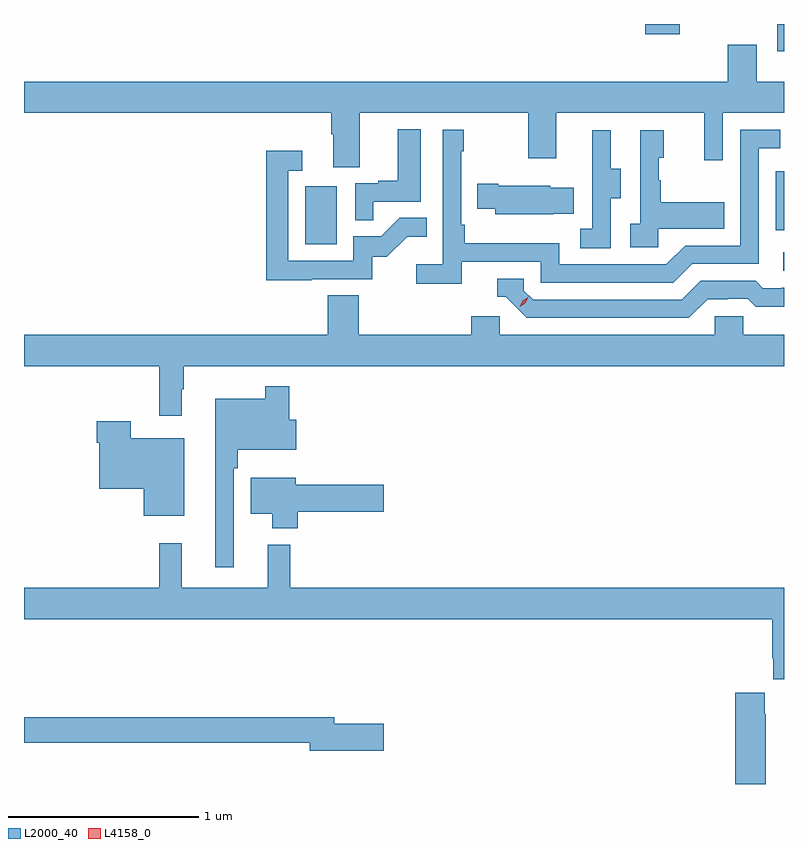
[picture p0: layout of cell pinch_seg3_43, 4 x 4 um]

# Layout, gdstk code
import gdstk
lib = gdstk.Library(unit=1e-6, precision=1e-09)
def R(c, l, rs):  # rectangles x0, y0, x1, y1
    for r in rs: c.add(gdstk.rectangle(r[:2], r[2:], *l))
def P(c, l, *ps):  # polygons
    for p in ps: c.add(gdstk.Polygon(p, *l))
L2000_40 = (2000, 40)
L4158_0 = (4158, 0)

pinch_seg3_43 = lib.new_cell('pinch_seg3_43')
R(pinch_seg3_43, L2000_40, [(1108.227,738.714,1108.231,738.81), (1105.712,738.852,1105.876,739.159), (1108.188,738.927,1108.231,739.236), (1108.196,739.868,1108.231,740.012), (1107.5,739.959,1107.683,740.012)])
P(pinch_seg3_43, L2000_40, [(1105.999,739.544),(1106.884,739.544),(1106.884,739.305),(1107.031,739.305),(1107.031,739.544),(1107.812,739.544),(1107.812,739.296),(1107.909,739.296),(1107.909,739.544),(1108.231,739.544),(1108.231,739.708),(1108.087,739.708),(1108.087,739.903),(1107.935,739.903),(1107.935,739.708),(1104.231,739.708),(1104.231,739.544),(1105.847,739.544),(1105.847,739.432),(1105.859,739.432),(1105.859,739.258),(1105.999,739.258)],
  [(1106.069,739.077),(1106.32,739.077),(1106.32,739.459),(1106.198,739.459),(1106.198,739.186),(1106.095,739.186),(1106.095,739.173),(1105.974,739.173),(1105.974,738.979),(1106.069,738.979)],
  [(1106.534,738.762),(1106.952,738.762),(1106.952,738.651),(1107.649,738.651),(1107.748,738.75),(1108.098,738.75),(1108.098,739.359),(1108.211,739.359),(1108.211,739.455),(1108.002,739.455),(1108.002,738.846),(1107.711,738.846),(1107.612,738.747),(1107.048,738.747),(1107.048,738.859),(1106.552,738.859),(1106.552,738.955),(1106.532,738.955),(1106.532,739.343),(1106.545,739.343),(1106.545,739.456),(1106.436,739.456),(1106.436,738.748),(1106.295,738.748),(1106.295,738.646),(1106.534,738.646)],
  [(1107.318,739.096),(1107.373,739.096),(1107.373,739.251),(1107.319,739.251),(1107.319,739.453),(1107.221,739.453),(1107.221,739.239),(1107.222,739.239),(1107.222,738.935),(1107.159,738.935),(1107.159,738.832),(1107.318,738.832)],
  [(1107.57,738.935),(1107.917,738.935),(1107.917,739.075),(1107.583,739.075),(1107.583,739.19),(1107.573,739.19),(1107.573,739.308),(1107.598,739.308),(1107.598,739.453),(1107.474,739.453),(1107.474,738.962),(1107.423,738.962),(1107.423,738.837),(1107.57,738.837)],
  [(1105.745,738.669),(1106.064,738.669),(1106.064,738.786),(1106.14,738.786),(1106.247,738.893),(1106.351,738.893),(1106.351,738.992),(1106.208,738.992),(1106.11,738.894),(1105.965,738.894),(1105.965,738.765),(1105.623,738.765),(1105.623,739.239),(1105.696,739.239),(1105.696,739.345),(1105.507,739.345),(1105.507,738.664),(1105.745,738.664)],
  [(1107.017,739.013),(1107.125,739.013),(1107.125,739.15),(1107,739.15),(1107,739.162),(1106.728,739.162),(1106.728,739.17),(1106.617,739.17),(1106.617,739.04),(1106.711,739.04),(1106.711,739.01),(1107.017,739.01)],
  [(1107.829,738.564),(1107.936,738.564),(1107.936,738.567),(1108.039,738.567),(1108.081,738.525),(1108.231,738.525),(1108.231,738.624),(1108.219,738.624),(1108.219,738.621),(1108.12,738.621),(1108.081,738.66),(1107.792,738.66),(1107.693,738.561),(1106.91,738.561),(1106.862,738.609),(1106.862,738.672),(1106.723,738.672),(1106.723,738.576),(1106.766,738.576),(1106.877,738.465),(1107.73,738.465)],
  [(1104.231,738.212),(1104.943,738.212),(1104.943,737.949),(1105.06,737.949),(1105.06,738.089),(1105.072,738.089),(1105.072,738.212),(1108.231,738.212),(1108.231,738.376),(1108.017,738.376),(1108.017,738.474),(1107.867,738.474),(1107.867,738.376),(1106.736,738.376),(1106.736,738.474),(1106.585,738.474),(1106.585,738.376),(1105.994,738.376),(1105.994,738.584),(1105.829,738.584),(1105.829,738.376),(1104.231,738.376)],
  [(1105.335,737.675),(1105.355,737.675),(1105.355,737.771),(1105.663,737.771),(1105.663,737.929),(1105.628,737.929),(1105.628,738.106),(1105.5,738.106),(1105.5,738.04),(1105.238,738.04),(1105.238,737.154),(1105.335,737.154)],
  [(1105.075,737.833),(1104.792,737.833),(1104.792,737.92),(1104.614,737.92),(1104.614,737.807),(1104.626,737.807),(1104.626,737.567),(1104.86,737.567),(1104.86,737.423),(1105.075,737.423)],
  [(1105.673,737.446),(1106.125,737.446),(1106.125,737.588),(1105.66,737.588),(1105.66,737.623),(1105.424,737.623),(1105.424,737.435),(1105.538,737.435),(1105.538,737.357),(1105.673,737.357)],
  [(1108.231,737.044),(1105.631,737.044),(1105.631,737.272),(1105.514,737.272),(1105.514,737.044),(1105.061,737.044),(1105.061,737.278),(1104.943,737.278),(1104.943,737.044),(1104.231,737.044),(1104.231,736.88),(1108.169,736.88),(1108.169,736.675),(1108.175,736.675),(1108.175,736.563),(1108.231,736.563)],
  [(1108.134,736.379),(1108.129,736.379),(1108.129,736.492),(1107.974,736.492),(1107.974,736.012),(1108.134,736.012)],
  [(1106.125,736.328),(1105.864,736.328),(1105.864,736.364),(1104.231,736.364),(1104.231,736.228),(1105.736,736.228),(1105.736,736.186),(1106.125,736.186)])
P(pinch_seg3_43, L4158_0, [(1106.839,738.523),(1106.839,738.523),(1106.855,738.556),(1106.886,738.575),(1106.886,738.575),(1106.886,738.574),(1106.87,738.542),(1106.839,738.523)])

lib.write_gds('pinch_seg3_43.gds')
